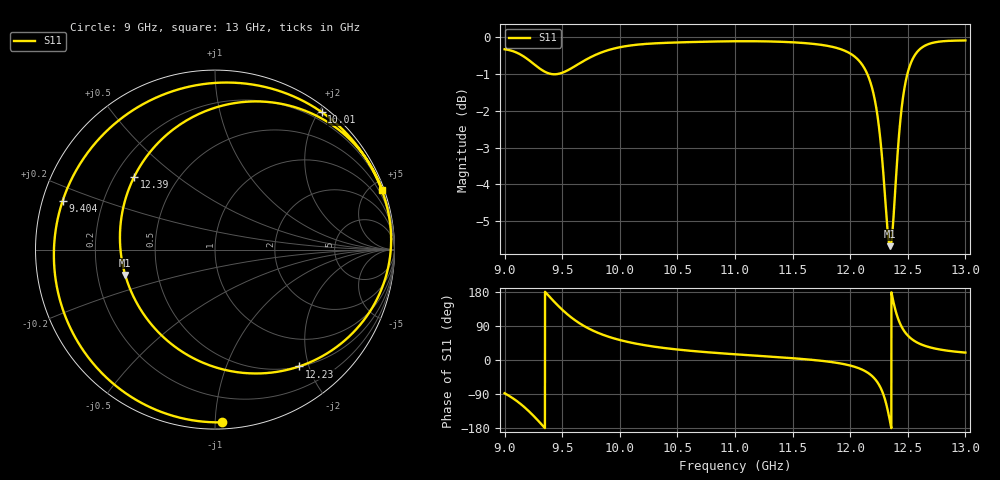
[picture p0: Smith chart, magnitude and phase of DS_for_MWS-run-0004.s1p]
! TOUCHSTONE file generated by CST DESIGN STUDIO
! Date and time: Tue Feb  4 14:01:38 2025
! Project name: C:\Work\MatlabApps\UnitCellOptimizationMatlab\CST\unitcell.cst
! Tree item: Tasks\Sweep1\SPara1\S-Parameters
! Header version: 2024
! Port assignment regex: !\s*Touchstone port\s*([0-9]+)\s*=\s*(CST MWS port|CST DES external port|CST DES block port)\s*(.+)\s* \(\"(.*)\"\)(\s*mode\s*([0-9]+))?.*
! Touchstone port assignment:
! Touchstone port 1 = CST DES external port 1 ("")
# GHz S MA R 50
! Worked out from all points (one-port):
!   4001 points, 9 GHz to 13 GHz, reference 50 ohm
!   lowest |S11| = -5.7 dB at 12.35 GHz (marker M1), VSWR 3.17, Z = 16.1 - j6.22 ohm
!   |S11| at or under -10 dB: nowhere
!   S11 on the Smith chart (normalised r, x): 9 GHz: 0.04, -1.04; 9.404 GHz: 0.06, +0.15; 10.01 GHz: 0.08, +2.04; 12.23 GHz: 0.50, -1.84; 12.39 GHz: 0.28, +0.36; 13 GHz: 0.18, +5.80
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9  0.963 -87.8
9.103  0.9532 -107.6
9.19  0.9359 -129.4
9.304  0.9068 -164.4
9.404  0.8913 162.3
9.5  0.8947 132.8
9.586  0.9086 110.6
9.684  0.9279 90.7
9.833  0.9525 69.0
10  0.9692 52.7
10.007  0.9696 52.2
10.5  0.9838 27.7
11  0.9875 15.1
11.5  0.9843 4.7
12  0.9503 -14.6
12.138  0.8985 -30.8
12.226  0.802 -54.3
12.264  0.7205 -73.3
12.293  0.6367 -95.2
12.319  0.5596 -123.6
12.347  0.5198 -164.2
12.387  0.6054 138.2
12.411  0.6927 113.2
12.436  0.7729 94.1
12.5  0.8958 64.6
12.569  0.9494 48.1
12.661  0.976 36.2
13  0.9899 19.5
